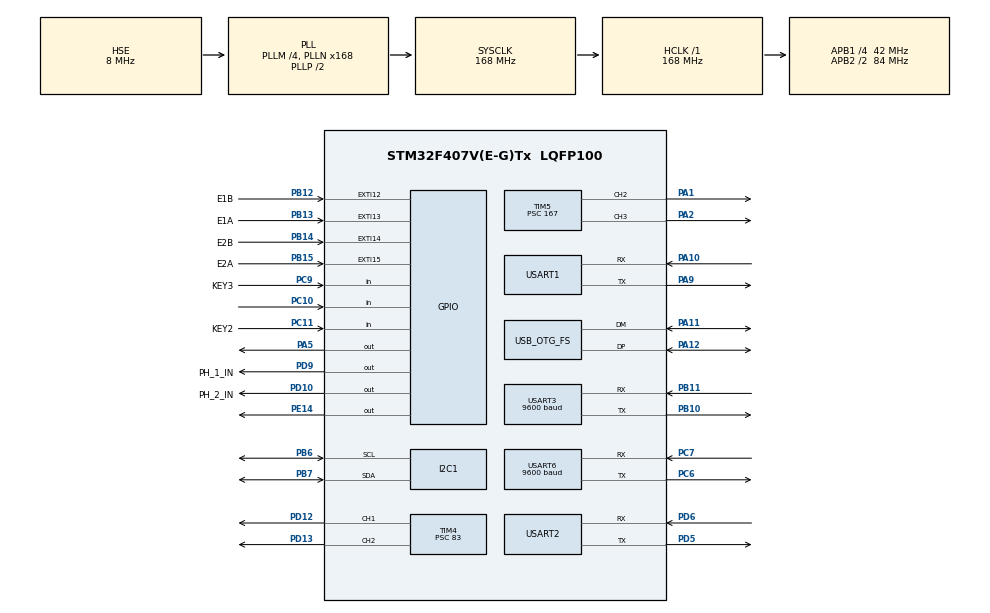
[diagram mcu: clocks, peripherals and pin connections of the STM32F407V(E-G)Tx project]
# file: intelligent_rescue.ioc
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I2C1.I2C_Mode=I2C_Fast
Mcu.Family=STM32F4
Mcu.Name=STM32F407V(E-G)Tx
Mcu.Package=LQFP100
NVIC.EXTI15_10_IRQn=true\:0\:0\:false\:false\:true\:true\:true\:true
NVIC.OTG_FS_IRQn=true\:0\:0\:false\:false\:true\:false\:true\:true
NVIC.PriorityGroup=NVIC_PRIORITYGROUP_4
NVIC.TIM1_UP_TIM10_IRQn=true\:0\:0\:false\:false\:true\:true\:true\:true
NVIC.USART1_IRQn=true\:0\:0\:false\:false\:true\:true\:true\:true
NVIC.USART2_IRQn=true\:0\:0\:false\:false\:true\:true\:true\:true
NVIC.USART3_IRQn=true\:0\:0\:false\:false\:true\:true\:true\:true
NVIC.USART6_IRQn=true\:0\:0\:false\:false\:true\:true\:true\:true
PA1.Signal=S_TIM5_CH2
PA10.Mode=Asynchronous
PA10.Signal=USART1_RX
PA11.Mode=Device_Only
PA11.Signal=USB_OTG_FS_DM
PA12.Mode=Device_Only
PA12.Signal=USB_OTG_FS_DP
PA13.Mode=Serial_Wire
PA13.Signal=SYS_JTMS-SWDIO
PA14.Mode=Serial_Wire
PA14.Signal=SYS_JTCK-SWCLK
PA2.Signal=S_TIM5_CH3
PA5.GPIO_PuPd=GPIO_PULLUP
PA5.PinState=GPIO_PIN_SET
PA5.Signal=GPIO_Output
PA9.Mode=Asynchronous
PA9.Signal=USART1_TX
PB10.Mode=Asynchronous
PB10.Signal=USART3_TX
PB11.Mode=Asynchronous
PB11.Signal=USART3_RX
PB12.GPIO_Label=E1B
PB12.GPIO_PuPd=GPIO_PULLUP
PB12.Signal=GPXTI12
PB13.GPIO_Label=E1A
PB13.GPIO_ModeDefaultEXTI=GPIO_MODE_IT_RISING_FALLING
PB13.GPIO_PuPd=GPIO_PULLUP
PB13.Signal=GPXTI13
PB14.GPIO_Label=E2B
PB14.GPIO_PuPd=GPIO_PULLUP
PB14.Signal=GPXTI14
PB15.GPIO_Label=E2A
PB15.GPIO_ModeDefaultEXTI=GPIO_MODE_IT_RISING_FALLING
PB15.GPIO_PuPd=GPIO_PULLUP
PB15.Signal=GPXTI15
PB6.Mode=I2C
PB6.Signal=I2C1_SCL
PB7.Mode=I2C
PB7.Signal=I2C1_SDA
PC10.GPIO_PuPd=GPIO_PULLUP
PC10.Signal=GPIO_Input
PC11.GPIO_Label=KEY2
PC11.GPIO_PuPd=GPIO_PULLUP
PC11.Signal=GPIO_Input
PC6.Mode=Asynchronous
PC6.Signal=USART6_TX
PC7.Mode=Asynchronous
PC7.Signal=USART6_RX
PC9.GPIO_Label=KEY3
PC9.GPIO_PuPd=GPIO_PULLUP
PC9.Signal=GPIO_Input
PD10.GPIO_Label=PH_2_IN
PD10.GPIO_PuPd=GPIO_PULLDOWN
PD10.Signal=GPIO_Output
PD12.Signal=S_TIM4_CH1
PD13.Signal=S_TIM4_CH2
PD5.Mode=Asynchronous
PD5.Signal=USART2_TX
PD6.Mode=Asynchronous
PD6.Signal=USART2_RX
PD9.GPIO_Label=PH_1_IN
PD9.GPIO_PuPd=GPIO_PULLUP
PD9.Signal=GPIO_Output
PE14.GPIO_PuPd=GPIO_PULLUP
PE14.Signal=GPIO_Output
PH0-OSC_IN.Mode=HSE-External-Oscillator
PH0-OSC_IN.Signal=RCC_OSC_IN
PH1-OSC_OUT.Mode=HSE-External-Oscillator
PH1-OSC_OUT.Signal=RCC_OSC_OUT
ProjectManager.HeapSize=0x200
ProjectManager.StackSize=0x400
ProjectManager.TargetToolchain=CMake
RCC.48MHZClocksFreq_Value=48000000
RCC.AHBFreq_Value=168000000
RCC.APB1CLKDivider=RCC_HCLK_DIV4
RCC.APB1Freq_Value=42000000
RCC.APB1TimFreq_Value=84000000
RCC.APB2CLKDivider=RCC_HCLK_DIV2
RCC.APB2Freq_Value=84000000
RCC.APB2TimFreq_Value=168000000
RCC.CortexFreq_Value=168000000
RCC.HCLKFreq_Value=168000000
RCC.HSE_VALUE=8000000
RCC.HSI_VALUE=16000000
RCC.LSE_VALUE=32768
RCC.PLLM=4
RCC.PLLN=168
RCC.PLLQ=7
RCC.SYSCLKFreq_VALUE=168000000
RCC.SYSCLKSource=RCC_SYSCLKSOURCE_PLLCLK
RCC.VCOOutputFreq_Value=336000000
SH.S_TIM4_CH1.0=TIM4_CH1,PWM Generation1 CH1
SH.S_TIM4_CH2.0=TIM4_CH2,PWM Generation2 CH2
SH.S_TIM5_CH2.0=TIM5_CH2,PWM Generation2 CH2
SH.S_TIM5_CH3.0=TIM5_CH3,PWM Generation3 CH3
TIM1.AutoReloadPreload=TIM_AUTORELOAD_PRELOAD_ENABLE
TIM1.Prescaler=167
TIM2.AutoReloadPreload=TIM_AUTORELOAD_PRELOAD_ENABLE
TIM2.Period=499
TIM2.Prescaler=83
TIM3.AutoReloadPreload=TIM_AUTORELOAD_PRELOAD_ENABLE
TIM3.Period=9999
TIM3.Prescaler=167
TIM4.AutoReloadPreload=TIM_AUTORELOAD_PRELOAD_ENABLE
TIM4.Channel-PWM\ Generation1\ CH1=TIM_CHANNEL_1
TIM4.Channel-PWM\ Generation2\ CH2=TIM_CHANNEL_2
TIM4.Period=499
TIM4.Prescaler=83
TIM5.AutoReloadPreload=TIM_AUTORELOAD_PRELOAD_ENABLE
TIM5.Channel-PWM\ Generation2\ CH2=TIM_CHANNEL_2
TIM5.Channel-PWM\ Generation3\ CH3=TIM_CHANNEL_3
TIM5.Period=9999
TIM5.Prescaler=167
USART1.VirtualMode=VM_ASYNC
USART2.VirtualMode=VM_ASYNC
USART3.BaudRate=9600
USART3.VirtualMode=VM_ASYNC
USART6.BaudRate=9600
USART6.VirtualMode=VM_ASYNC
USB_DEVICE.CLASS_NAME_FS=CDC
USB_DEVICE.VirtualMode-CDC_FS=Cdc
USB_DEVICE.VirtualModeFS=Cdc_FS
USB_OTG_FS.VirtualMode=Device_Only
VP_TIM1_VS_ClockSourceINT.Mode=Internal
VP_TIM2_VS_ClockSourceINT.Mode=Internal
VP_TIM3_VS_ClockSourceINT.Mode=Internal
VP_TIM4_VS_ClockSourceINT.Mode=Internal
VP_TIM5_VS_ClockSourceINT.Mode=Internal
VP_USB_DEVICE_VS_USB_DEVICE_CDC_FS.Mode=CDC_FS
board=custom

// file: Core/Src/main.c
/* USER CODE BEGIN Header */
/**
  ******************************************************************************
  * @file           : main.c
  * @brief          : Main program body
  ******************************************************************************
  * @attention
  *
  * Copyright (c) 2026 STMicroelectronics.
  * All rights reserved.
  *
  * This software is licensed under terms that can be found in the LICENSE file
  * in the root directory of this software component.
  * If no LICENSE file comes with this software, it is provided AS-IS.
  *
  ******************************************************************************
  */
/* USER CODE END Header */
#include "main.h"
#include "i2c.h"
#include "tim.h"
#include "usart.h"
#include "usb_device.h"
#include "gpio.h"

/* USER CODE BEGIN Includes */
#include "app_button.h"
#include "app_encoder.h"
#include "app_usart.h"
#include "task.h"
#include "drv8701.h"
#include "gx_delay.h"

#include "app_servo.h"
#include "app_motor.h"
#include "app_speed.h"
#include "app_line_pid.h"
#include "JY901S.h"
#include "rescue_usart2.h"
#include "App_Task.h"
#include "app_task_config.h"
#include "oled_hardware_i2c.h"
#include <stdio.h>
#include "app_cargo_test.h"
/* USER CODE END Includes */

/* USER CODE BEGIN PV */
uint8_t rx_byte_imu;   // 串口6接收陀螺仪数据
/*
 *调试用变量
 */
float duty_l = 0;
float duty_r = 0;
float angle_1 = 0.0f;
float angle_2 = 0.0f;
extern int key1_flag;//调试按键，不启动任务
extern int key2_flag;//蓝方任务启动
extern int key3_flag;//红方任务启动
/* USER CODE END PV */

void SystemClock_Config(void);

int main(void)
{

  /* MCU Configuration--------------------------------------------------------*/

  /* Reset of all peripherals, Initializes the Flash interface and the Systick. */
  HAL_Init();

  /* Configure the system clock */
  SystemClock_Config();

  /* Initialize all configured peripherals */
  MX_GPIO_Init();
  MX_USART1_UART_Init();
  MX_USB_DEVICE_Init();
  MX_TIM1_Init();
  MX_TIM2_Init();
  MX_USART6_UART_Init();
  MX_TIM3_Init();
  MX_USART2_UART_Init();
  MX_USART3_UART_Init();
  MX_TIM5_Init();
  MX_TIM4_Init();
  MX_I2C1_Init();
  /* USER CODE BEGIN 2 */

  /*
   * 所有定时器和 GPIO 初始化完成后，启动 DRV8701E 的两路 EN PWM。
   * Motor_Init() 会先写入停止值，避免上电初始化过程中产生
   * 意外的电机动作。
   */
  Motor_Init();
  Motor_Cmd(1);

  /* 控制目标和闭环模式由 STM32 本地业务层选择，视觉串口只提供场景。 */
  App_Speed_Init();
  App_Motor_Init();
  App_LinePID_Init(); // 视觉对准 PID 初始化，SP 为屏幕中心 x

  App_Servo_Init();//初始化舵机
  App_Button_Init();//初始化三个按键的单击回调：KEY2蓝方、KEY3红方
  HAL_UART_Receive_IT(&huart3, &rx_byte_imu, 1);//陀螺仪接收初始化

  // OLED_Init();//oled初始化并且显示信息
  // OLED_ShowString(0, 0, (uint8_t *)"angle", 8);

  /*
   * TIM1 以 1 MHz 计数并开启更新中断，供 gx_GetUs() 提供
   * 64 位微秒时间戳。TIM1 的自动重装载值为 65535，因此每次
   * 更新中断对应 65536 us 的软件累计。
   */
  /*
   * 启动前显式清零计数器和更新标志，避免个别复位状态下遗留的
   * UIF 标志被 gx_GetUs() 当成一次真实的 16 位计数器溢出。
   */

  HAL_TIM_Base_Start_IT(&htim1);
  if (Rescue_Usart2_Start() == 0U) {
    Error_Handler();
  }
  App_USART1_Printf("start!\n");
  //App_USART2_Printf("start!\n");

  /* USER CODE END 2 */

  /* Infinite loop */
  /* USER CODE BEGIN WHILE */
  while (1)
  {
    if (key2_flag == 1 || key3_flag == 1) {
      uint8_t team = key3_flag == 1 ? APP_TASK_TEAM_RED : APP_TASK_TEAM_BLUE;
      key2_flag = 0;
      key3_flag = 0;
      App_Task_Start(team);
    }
    App_Usart_USB_Process();//USB虚拟串口通信
    PERIODIC_START(KEY_DETECT,20)
    App_Button_Proc();
    PERIODIC_END

    PERIODIC_START(PEINT_USART,500)
    HAL_GPIO_TogglePin(GPIOA, GPIO_PIN_5);
    PERIODIC_END

    /* oled
     * 每 100 ms 显示偏航角，并检查两路舵机的设定角度。
     * 6×8 小字体每行占一页：偏航角 y=1，夹爪 y=2，摄像头 y=3。
     */

    /* 先更新视觉场景，再执行本地任务和当前步骤需要的控制闭环。 */
    Rescue_Usart2_Process();
    App_Task_Proc();
    Rescue_Usart2_Debug_Proc(); // 正式模式下串口1报告相机断流超时。

    /* USER CODE END WHILE */

  }
}

void SystemClock_Config(void)
{
  RCC_OscInitTypeDef RCC_OscInitStruct = {0};
  RCC_ClkInitTypeDef RCC_ClkInitStruct = {0};

  /** Configure the main internal regulator output voltage
  */
  __HAL_RCC_PWR_CLK_ENABLE();
  __HAL_PWR_VOLTAGESCALING_CONFIG(PWR_REGULATOR_VOLTAGE_SCALE1);

  /** Initializes the RCC Oscillators according to the specified parameters
  * in the RCC_OscInitTypeDef structure.
  */
  RCC_OscInitStruct.OscillatorType = RCC_OSCILLATORTYPE_HSE;
  RCC_OscInitStruct.HSEState = RCC_HSE_ON;
  RCC_OscInitStruct.PLL.PLLState = RCC_PLL_ON;
  RCC_OscInitStruct.PLL.PLLSource = RCC_PLLSOURCE_HSE;
  RCC_OscInitStruct.PLL.PLLM = 4;
  RCC_OscInitStruct.PLL.PLLN = 168;
  RCC_OscInitStruct.PLL.PLLP = RCC_PLLP_DIV2;
  RCC_OscInitStruct.PLL.PLLQ = 7;
  if (HAL_RCC_OscConfig(&RCC_OscInitStruct) != HAL_OK)
  {
    Error_Handler();
  }

  /** Initializes the CPU, AHB and APB buses clocks
  */
  RCC_ClkInitStruct.ClockType = RCC_CLOCKTYPE_HCLK|RCC_CLOCKTYPE_SYSCLK
                              |RCC_CLOCKTYPE_PCLK1|RCC_CLOCKTYPE_PCLK2;
  RCC_ClkInitStruct.SYSCLKSource = RCC_SYSCLKSOURCE_PLLCLK;
  RCC_ClkInitStruct.AHBCLKDivider = RCC_SYSCLK_DIV1;
  RCC_ClkInitStruct.APB1CLKDivider = RCC_HCLK_DIV4;
  RCC_ClkInitStruct.APB2CLKDivider = RCC_HCLK_DIV2;

  if (HAL_RCC_ClockConfig(&RCC_ClkInitStruct, FLASH_LATENCY_5) != HAL_OK)
  {
    Error_Handler();
  }
}

/* USER CODE BEGIN 4 */
void HAL_UART_RxCpltCallback(UART_HandleTypeDef *huart) {
  if (huart->Instance == USART3) {
    IMU_PutByte(rx_byte_imu);
    HAL_UART_Receive_IT(&huart3, &rx_byte_imu, 1);
  } else if (huart->Instance == USART2) {
    /* USART2 的组帧和缓存由协议模块负责；这里不执行电机或舵机动作。 */
    extern void Rescue_Usart2_RxCallback(void);
    Rescue_Usart2_RxCallback();
  }
}

void HAL_UART_ErrorCallback(UART_HandleTypeDef *huart) {
  if (huart->Instance == USART2) {
    /* ORE 等阻塞错误会结束 HAL 接收；协议模块清掉残帧并重新挂接收。 */
    Rescue_Usart2_ErrorCallback();
  }
}
/* USER CODE END 4 */

void Error_Handler(void)
{
  __disable_irq();
  while (1)
  {
  }
}
